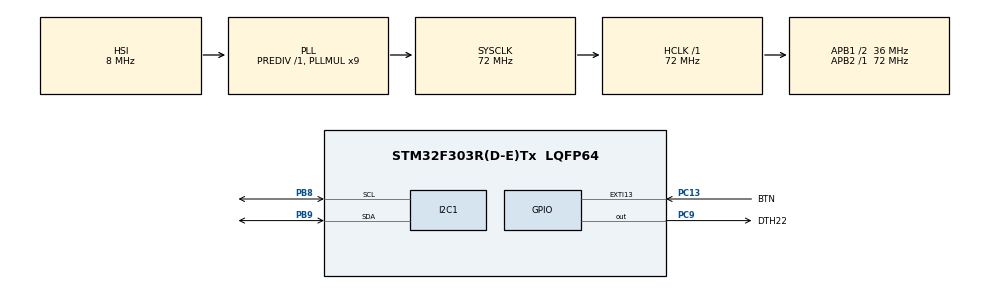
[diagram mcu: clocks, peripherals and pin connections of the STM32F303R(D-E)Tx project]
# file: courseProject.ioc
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Mcu.Family=STM32F3
Mcu.Name=STM32F303R(D-E)Tx
Mcu.Package=LQFP64
NVIC.EXTI15_10_IRQn=true\:0\:0\:false\:false\:true\:true\:true\:true
NVIC.I2C1_ER_IRQn=true\:0\:0\:false\:false\:true\:true\:true\:true
NVIC.I2C1_EV_IRQn=true\:0\:0\:false\:false\:true\:true\:true\:true
NVIC.PriorityGroup=NVIC_PRIORITYGROUP_4
NVIC.RCC_IRQn=true\:0\:0\:false\:false\:true\:true\:false\:true
NVIC.TIM2_IRQn=true\:0\:0\:false\:false\:true\:true\:true\:true
PA13.Mode=Serial_Wire
PA13.Signal=SYS_JTMS-SWDIO
PA14.Mode=Serial_Wire
PA14.Signal=SYS_JTCK-SWCLK
PB8.GPIO_Pu=GPIO_PULLUP
PB8.Mode=I2C
PB8.Signal=I2C1_SCL
PB9.GPIO_Pu=GPIO_PULLUP
PB9.GPIO_Speed=GPIO_SPEED_FREQ_HIGH
PB9.Mode=I2C
PB9.Signal=I2C1_SDA
PC13.GPIO_Label=BTN
PC13.GPIO_ModeDefaultEXTI=GPIO_MODE_IT_FALLING
PC13.GPIO_PuPd=GPIO_PULLUP
PC13.Signal=GPXTI13
PC9.GPIO_Label=DTH22
PC9.Signal=GPIO_Output
PF0-OSC_IN.Mode=HSE-External-Oscillator
PF0-OSC_IN.Signal=RCC_OSC_IN
PF1-OSC_OUT.Mode=HSE-External-Oscillator
PF1-OSC_OUT.Signal=RCC_OSC_OUT
ProjectManager.HeapSize=0x200
ProjectManager.StackSize=0x400
ProjectManager.TargetToolchain=STM32CubeIDE
RCC.AHBFreq_Value=72000000
RCC.APB1CLKDivider=RCC_HCLK_DIV2
RCC.APB1Freq_Value=36000000
RCC.APB1TimFreq_Value=72000000
RCC.APB2Freq_Value=72000000
RCC.APB2TimFreq_Value=72000000
RCC.CortexFreq_Value=72000000
RCC.HCLKFreq_Value=72000000
RCC.HSE_VALUE=8000000
RCC.HSI_VALUE=8000000
RCC.LSE_VALUE=32768
RCC.PLLMUL=RCC_PLL_MUL9
RCC.SYSCLKFreq_VALUE=72000000
RCC.SYSCLKSourceVirtual=RCC_SYSCLKSOURCE_PLLCLK
RCC.USBFreq_Value=72000000
TIM1.Prescaler=71
TIM2.Period=3599999
TIM2.Prescaler=599
VP_TIM1_VS_ClockSourceINT.Mode=Internal
VP_TIM2_VS_ClockSourceINT.Mode=Internal
board=custom

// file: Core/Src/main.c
/* USER CODE BEGIN Header */
/**
  ******************************************************************************
  * @file           : main.c
  * @brief          : Main program body
  ******************************************************************************
  * @attention
  *
  * Copyright (c) 2023 STMicroelectronics.
  * All rights reserved.
  *
  * This software is licensed under terms that can be found in the LICENSE file
  * in the root directory of this software component.
  * If no LICENSE file comes with this software, it is provided AS-IS.
  *
  ******************************************************************************
  */
/* USER CODE END Header */
#include "main.h"

/* USER CODE BEGIN Includes */
#include "lcd.h"
#include "dth22.h"
#include "structures.h"
#include "scheduler.h"
/* USER CODE END Includes */

/* USER CODE BEGIN PD */
#define TRUE 1
#define FALSE 0
#define ARRAY_SIZE 20
/* USER CODE END PD */

I2C_HandleTypeDef hi2c1;

TIM_HandleTypeDef htim1;
TIM_HandleTypeDef htim2;

/* USER CODE BEGIN PV */
uint32_t pMillis, cMillis;
float temps[ARRAY_SIZE];
float humidities[ARRAY_SIZE];
uint8_t currentIndex = 0;
Mesure temperature = {0, 0, 0, 0};
Mesure humidity = {0, 0, 0, 0};
uint8_t arrayIsFull = FALSE;
/* USER CODE END PV */

void SystemClock_Config(void);
static void MX_GPIO_Init(void);
static void MX_I2C1_Init(void);
static void MX_TIM2_Init(void);
static void MX_TIM1_Init(void);

/* USER CODE BEGIN 0 */
void HAL_GPIO_EXTI_Callback(uint16_t GPIO_Pin) {
	buttonState.timesClicked = (buttonState.timesClicked + 1) % 4;
	if (buttonState.timesClicked == 0) {
		SetTask(showCurrent);
	} else if (buttonState.timesClicked == 1) {
		SetTask(showMax);
	} else if (buttonState.timesClicked == 2) {
		SetTask(showMin);
	} else {
		SetTask(showAvg);
	}
}

void HAL_TIM_PeriodElapsedCallback(TIM_HandleTypeDef *htim) {
	if (htim == &htim2) {
		SetTask(measure);
	}
}

void calculateMaxAndMin() {
	uint8_t size = 0;

	temperature.max = temps[0];
	temperature.min = temps[0];
	temperature.sum = temps[0];

	humidity.max = humidities[0];
	humidity.sum = humidities[0];
	humidity.min = humidities[0];

	if (arrayIsFull) {
		size = ARRAY_SIZE;
	} else {
		size = currentIndex;
	}

	for(int i = 1; i < size; i++) {
		temperature.sum += temps[i];
		humidity.sum += humidities[i];
		if (temps[i] < temperature.min) {
			temperature.min = temps[i];
		}
		if (temps[i] > temperature.max) {
			temperature.max = temps[i];
		}
		if (humidities[i] > humidity.max) {
			humidity.max = humidities[i];
		}
		if (humidities[i] < humidity.min) {
			humidity.min = humidities[i];
		}
	}
	temperature.avg = temperature.sum / size;
	humidity.avg = humidity.sum / size;
}

void showOnDisplay(float temp, float hum, char* tmpBuffer, char* tmpText, char* humBuffer, char* humText) {
	lcdPutCur(0, 0);
	lcdSendString(tmpText);
	sprintf(tmpBuffer, "%.2f", temp);
	lcdSendString(tmpBuffer);
	lcdPutCur(1, 0);
	lcdSendString(humText);
	sprintf(humBuffer, "%.2f", hum);
	lcdSendString(humBuffer);
}

void showMin() {
	char tmpBuffer[10];
	char humBuffer[10];
	lcdClear();
	calculateMaxAndMin();
	showOnDisplay(
		temperature.min,
		humidity.min,
		tmpBuffer,
		"Min temp: ",
		humBuffer,
		"Min hum: "
	);

}

void showMax() {
	char tmpBuffer[10];
	char humBuffer[10];
	lcdClear();
	calculateMaxAndMin();
	showOnDisplay(
		temperature.max,
		humidity.max,
		tmpBuffer,
		"Max temp: ",
		humBuffer,
		"Max hum: "
	);
}

void showAvg() {
	char tmpBuffer[10];
	char humBuffer[10];
	lcdClear();
	calculateMaxAndMin();
	showOnDisplay(
		temperature.avg,
		humidity.avg,
		tmpBuffer,
		"Avg temp: ",
		humBuffer,
		"Avg hum: "
	);
}

void showCurrent() {
	char tmpBuffer[10];
	char humBuffer[10];
	lcdClear();
	showOnDisplay(
		measurements.temperature,
		measurements.humidity,
		tmpBuffer,
		"Temp: ",
		humBuffer,
		"Humidity: "
	);
}

void measure() {
	uint8_t firstPartHum = 0;
	uint8_t secondPartHum = 0;
	uint8_t firstPartTemp = 0;
	uint8_t secondPartTemp = 0;
	uint8_t check = 0;
	uint16_t sum = 0;

	if (start()) {
		firstPartHum = read();
		secondPartHum = read();
		firstPartTemp = read();
		secondPartTemp = read();
		sum = read();
		check = firstPartHum + secondPartHum + firstPartTemp + secondPartTemp;
		if (check == sum) {
			if (firstPartTemp > 127) {
				measurements.temperature = (float)secondPartTemp / 10 * (-1);
			}
			else {
				measurements.temperature = (float)((firstPartTemp << 8) | secondPartTemp) / 10;
			}
			measurements.humidity = (float)((firstPartHum << 8) | secondPartHum) / 10;

			temps[currentIndex] = measurements.temperature;
			humidities[currentIndex] = measurements.humidity;
			currentIndex = (currentIndex + 1) % 20;

			if (currentIndex == ARRAY_SIZE - 1) {
				arrayIsFull = TRUE;
			}

			if (buttonState.timesClicked == 0) {
				SetTask(showCurrent);
			}
		}
	}
}

void microDelay(uint16_t delay) {
	__HAL_TIM_SET_COUNTER(&htim1, 0);
	while(__HAL_TIM_GET_COUNTER(&htim1) < delay);
}

uint8_t read() {
	uint8_t result;
	for(uint8_t i = 0; i < 8; i++) {
		pMillis = HAL_GetTick();
		cMillis = HAL_GetTick();
		while(!(HAL_GPIO_ReadPin(GPIOC, DTH22_Pin)) && pMillis + 2 > cMillis) {
			cMillis = HAL_GetTick();
		}
		microDelay(40);
		if (!(HAL_GPIO_ReadPin(GPIOC, DTH22_Pin)))
			result&= ~(1 << (7 - i));
		else
			result|= (1 << (7 - i));
		pMillis = HAL_GetTick();
		cMillis = HAL_GetTick();
		while((HAL_GPIO_ReadPin(GPIOC, DTH22_Pin)) && pMillis + 2 > cMillis) {
		  cMillis = HAL_GetTick();
		}
	}
	return result;
}

uint8_t start() {
	uint8_t response = 0;
	GPIO_InitTypeDef GPIO_InitStructPrivate = {0};
	GPIO_InitStructPrivate.Pin = DTH22_Pin;
	GPIO_InitStructPrivate.Mode = GPIO_MODE_OUTPUT_PP;
	GPIO_InitStructPrivate.Speed = GPIO_SPEED_FREQ_LOW;
	GPIO_InitStructPrivate.Pull = GPIO_NOPULL;
	HAL_GPIO_Init(GPIOC, &GPIO_InitStructPrivate);
	HAL_GPIO_WritePin (GPIOC, DTH22_Pin, 0);
	microDelay(1300);
	HAL_GPIO_WritePin (GPIOC, DTH22_Pin, 1);
	microDelay(30);
	GPIO_InitStructPrivate.Mode = GPIO_MODE_INPUT;
	GPIO_InitStructPrivate.Pull = GPIO_PULLUP;
	HAL_GPIO_Init(GPIOC, &GPIO_InitStructPrivate);
	microDelay (40);
	if(!(HAL_GPIO_ReadPin(GPIOC, DTH22_Pin))) {
		microDelay (80);
    if ((HAL_GPIO_ReadPin(GPIOC, DTH22_Pin))) response = 1;
	}
	pMillis = HAL_GetTick();
	cMillis = HAL_GetTick();
	while((HAL_GPIO_ReadPin(GPIOC, DTH22_Pin)) && pMillis + 2 > cMillis) {
		cMillis = HAL_GetTick();
	}
	return response;
}

/* USER CODE END 0 */

int main(void)
{

  /* MCU Configuration--------------------------------------------------------*/

  /* Reset of all peripherals, Initializes the Flash interface and the Systick. */
  HAL_Init();

  /* Configure the system clock */
  SystemClock_Config();

  /* Initialize all configured peripherals */
  MX_GPIO_Init();
  MX_I2C1_Init();
  MX_TIM2_Init();
  MX_TIM1_Init();
  /* USER CODE BEGIN 2 */
  lcdInit();
  InitScheduler();
  SetTask(measure);

  HAL_TIM_Base_Start(&htim1);
  HAL_TIM_Base_Start_IT(&htim2);
  /* USER CODE END 2 */

  /* Infinite loop */
  while (1) {

    /* USER CODE BEGIN 3 */
	  TaskManager();
  }
  /* USER CODE END 3 */
}

void SystemClock_Config(void)
{
  RCC_OscInitTypeDef RCC_OscInitStruct = {0};
  RCC_ClkInitTypeDef RCC_ClkInitStruct = {0};
  RCC_PeriphCLKInitTypeDef PeriphClkInit = {0};

  /** Initializes the RCC Oscillators according to the specified parameters
  * in the RCC_OscInitTypeDef structure.
  */
  RCC_OscInitStruct.OscillatorType = RCC_OSCILLATORTYPE_HSI;
  RCC_OscInitStruct.HSIState = RCC_HSI_ON;
  RCC_OscInitStruct.HSICalibrationValue = RCC_HSICALIBRATION_DEFAULT;
  RCC_OscInitStruct.PLL.PLLState = RCC_PLL_ON;
  RCC_OscInitStruct.PLL.PLLSource = RCC_PLLSOURCE_HSI;
  RCC_OscInitStruct.PLL.PLLMUL = RCC_PLL_MUL9;
  RCC_OscInitStruct.PLL.PREDIV = RCC_PREDIV_DIV1;
  if (HAL_RCC_OscConfig(&RCC_OscInitStruct) != HAL_OK)
  {
    Error_Handler();
  }

  /** Initializes the CPU, AHB and APB buses clocks
  */
  RCC_ClkInitStruct.ClockType = RCC_CLOCKTYPE_HCLK|RCC_CLOCKTYPE_SYSCLK
                              |RCC_CLOCKTYPE_PCLK1|RCC_CLOCKTYPE_PCLK2;
  RCC_ClkInitStruct.SYSCLKSource = RCC_SYSCLKSOURCE_PLLCLK;
  RCC_ClkInitStruct.AHBCLKDivider = RCC_SYSCLK_DIV1;
  RCC_ClkInitStruct.APB1CLKDivider = RCC_HCLK_DIV2;
  RCC_ClkInitStruct.APB2CLKDivider = RCC_HCLK_DIV1;

  if (HAL_RCC_ClockConfig(&RCC_ClkInitStruct, FLASH_LATENCY_2) != HAL_OK)
  {
    Error_Handler();
  }
  PeriphClkInit.PeriphClockSelection = RCC_PERIPHCLK_I2C1|RCC_PERIPHCLK_TIM1
                              |RCC_PERIPHCLK_TIM2;
  PeriphClkInit.I2c1ClockSelection = RCC_I2C1CLKSOURCE_HSI;
  PeriphClkInit.Tim1ClockSelection = RCC_TIM1CLK_HCLK;
  PeriphClkInit.Tim2ClockSelection = RCC_TIM2CLK_HCLK;
  if (HAL_RCCEx_PeriphCLKConfig(&PeriphClkInit) != HAL_OK)
  {
    Error_Handler();
  }
}

static void MX_I2C1_Init(void)
{

  hi2c1.Instance = I2C1;
  hi2c1.Init.Timing = 0x2000090E;
  hi2c1.Init.OwnAddress1 = 0;
  hi2c1.Init.AddressingMode = I2C_ADDRESSINGMODE_7BIT;
  hi2c1.Init.DualAddressMode = I2C_DUALADDRESS_DISABLE;
  hi2c1.Init.OwnAddress2 = 0;
  hi2c1.Init.OwnAddress2Masks = I2C_OA2_NOMASK;
  hi2c1.Init.GeneralCallMode = I2C_GENERALCALL_DISABLE;
  hi2c1.Init.NoStretchMode = I2C_NOSTRETCH_DISABLE;
  if (HAL_I2C_Init(&hi2c1) != HAL_OK)
  {
    Error_Handler();
  }

  /** Configure Analogue filter
  */
  if (HAL_I2CEx_ConfigAnalogFilter(&hi2c1, I2C_ANALOGFILTER_ENABLE) != HAL_OK)
  {
    Error_Handler();
  }

  /** Configure Digital filter
  */
  if (HAL_I2CEx_ConfigDigitalFilter(&hi2c1, 0) != HAL_OK)
  {
    Error_Handler();
  }

}

static void MX_TIM1_Init(void)
{

  TIM_ClockConfigTypeDef sClockSourceConfig = {0};
  TIM_MasterConfigTypeDef sMasterConfig = {0};

  htim1.Instance = TIM1;
  htim1.Init.Prescaler = 71;
  htim1.Init.CounterMode = TIM_COUNTERMODE_UP;
  htim1.Init.Period = 65535;
  htim1.Init.ClockDivision = TIM_CLOCKDIVISION_DIV1;
  htim1.Init.RepetitionCounter = 0;
  htim1.Init.AutoReloadPreload = TIM_AUTORELOAD_PRELOAD_DISABLE;
  if (HAL_TIM_Base_Init(&htim1) != HAL_OK)
  {
    Error_Handler();
  }
  sClockSourceConfig.ClockSource = TIM_CLOCKSOURCE_INTERNAL;
  if (HAL_TIM_ConfigClockSource(&htim1, &sClockSourceConfig) != HAL_OK)
  {
    Error_Handler();
  }
  sMasterConfig.MasterOutputTrigger = TIM_TRGO_RESET;
  sMasterConfig.MasterOutputTrigger2 = TIM_TRGO2_RESET;
  sMasterConfig.MasterSlaveMode = TIM_MASTERSLAVEMODE_DISABLE;
  if (HAL_TIMEx_MasterConfigSynchronization(&htim1, &sMasterConfig) != HAL_OK)
  {
    Error_Handler();
  }

}

static void MX_TIM2_Init(void)
{

  TIM_ClockConfigTypeDef sClockSourceConfig = {0};
  TIM_MasterConfigTypeDef sMasterConfig = {0};

  htim2.Instance = TIM2;
  htim2.Init.Prescaler = 599;
  htim2.Init.CounterMode = TIM_COUNTERMODE_UP;
  htim2.Init.Period = 3599999;
  htim2.Init.ClockDivision = TIM_CLOCKDIVISION_DIV1;
  htim2.Init.AutoReloadPreload = TIM_AUTORELOAD_PRELOAD_DISABLE;
  if (HAL_TIM_Base_Init(&htim2) != HAL_OK)
  {
    Error_Handler();
  }
  sClockSourceConfig.ClockSource = TIM_CLOCKSOURCE_INTERNAL;
  if (HAL_TIM_ConfigClockSource(&htim2, &sClockSourceConfig) != HAL_OK)
  {
    Error_Handler();
  }
  sMasterConfig.MasterOutputTrigger = TIM_TRGO_RESET;
  sMasterConfig.MasterSlaveMode = TIM_MASTERSLAVEMODE_DISABLE;
  if (HAL_TIMEx_MasterConfigSynchronization(&htim2, &sMasterConfig) != HAL_OK)
  {
    Error_Handler();
  }

}

static void MX_GPIO_Init(void)
{
  GPIO_InitTypeDef GPIO_InitStruct = {0};

  /* GPIO Ports Clock Enable */
  __HAL_RCC_GPIOC_CLK_ENABLE();
  __HAL_RCC_GPIOF_CLK_ENABLE();
  __HAL_RCC_GPIOA_CLK_ENABLE();
  __HAL_RCC_GPIOB_CLK_ENABLE();

  /*Configure GPIO pin Output Level */
  HAL_GPIO_WritePin(DTH22_GPIO_Port, DTH22_Pin, GPIO_PIN_RESET);

  /*Configure GPIO pin : BTN_Pin */
  GPIO_InitStruct.Pin = BTN_Pin;
  GPIO_InitStruct.Mode = GPIO_MODE_IT_FALLING;
  GPIO_InitStruct.Pull = GPIO_PULLUP;
  HAL_GPIO_Init(BTN_GPIO_Port, &GPIO_InitStruct);

  /*Configure GPIO pin : DTH22_Pin */
  GPIO_InitStruct.Pin = DTH22_Pin;
  GPIO_InitStruct.Mode = GPIO_MODE_OUTPUT_PP;
  GPIO_InitStruct.Pull = GPIO_NOPULL;
  GPIO_InitStruct.Speed = GPIO_SPEED_FREQ_LOW;
  HAL_GPIO_Init(DTH22_GPIO_Port, &GPIO_InitStruct);

  /* EXTI interrupt init*/
  HAL_NVIC_SetPriority(EXTI15_10_IRQn, 0, 0);
  HAL_NVIC_EnableIRQ(EXTI15_10_IRQn);

}

void Error_Handler(void)
{
  __disable_irq();
  while (1)
  {
  }
}
